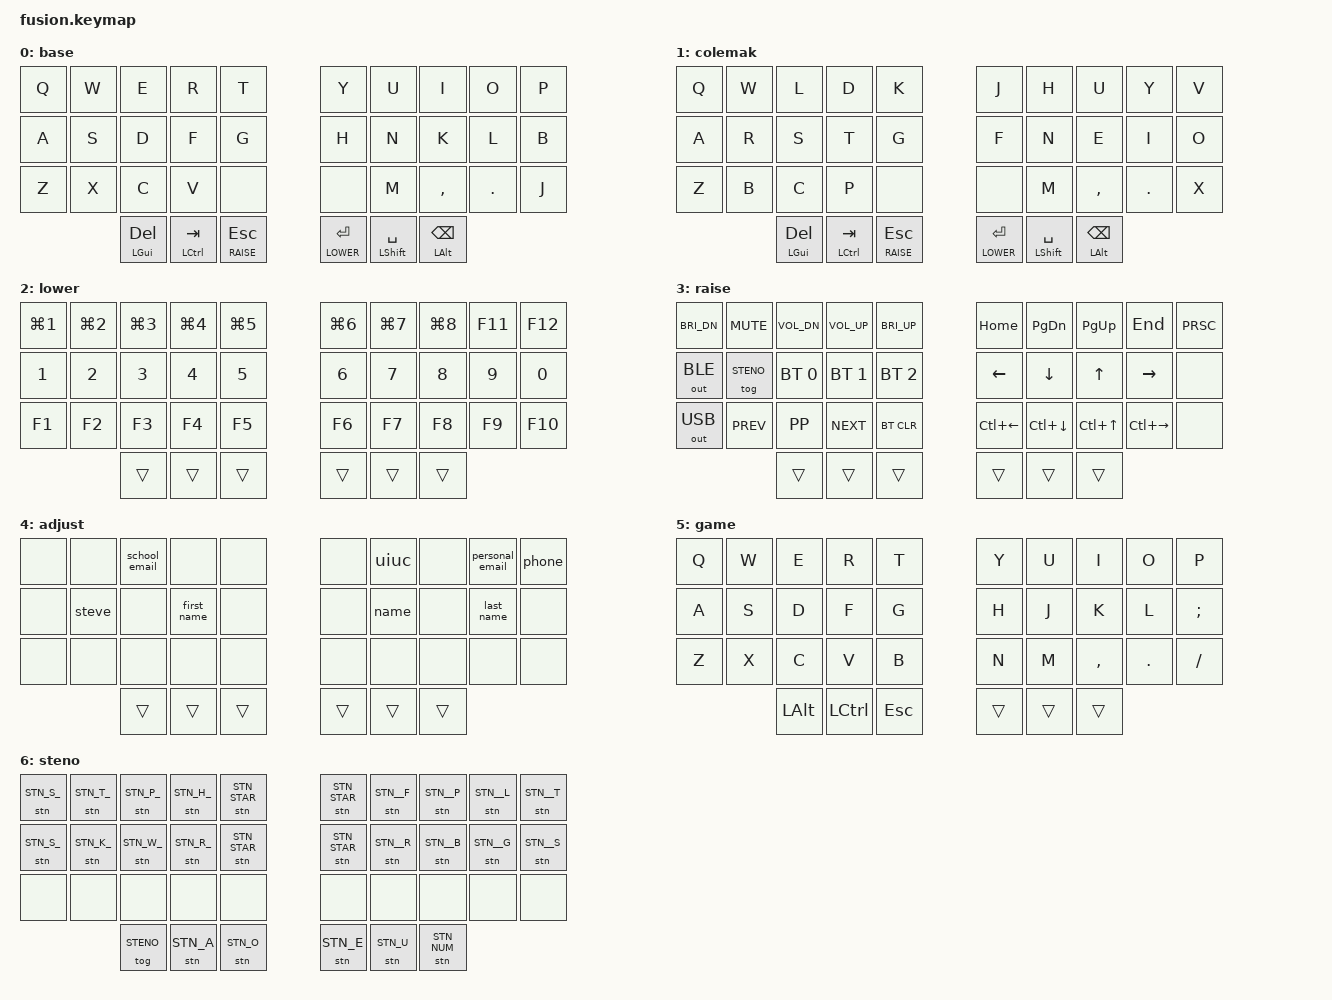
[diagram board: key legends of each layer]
/*
 * Copyright (c) 2020 The ZMK Contributors
 *
 * SPDX-License-Identifier: MIT
 */

#include <behaviors.dtsi>
#include <dt-bindings/zmk/keys.h>
#include <dt-bindings/zmk/bt.h>
#include <dt-bindings/zmk/outputs.h>
#include "../steno/impl/zmk/steno_keys.h"

/ {
    behaviors {
        // My Modtap
        mm: behavior_mod_tap {
            compatible = "zmk,behavior-hold-tap";
            label = "MOD_TAP";
            #binding-cells = <2>;
            flavor = "balanced";
            tapping-term-ms = <150>;
            bindings = <&kp>, <&kp>;
        };
        // My Layertap
        ml: behavior_layer_tap {
            compatible = "zmk,behavior-hold-tap";
            label = "LAYER_TAP";
            #binding-cells = <2>;
            flavor = "hold-preferred";
            tapping-term-ms = <150>;
            bindings = <&mo>, <&kp>;
        };
    };
    combos {
        compatible = "zmk,combos";
#define CONCAT2(x, y) x ## y
#define CONCAT(x, y) CONCAT2(x, y)
#define COMBO(pos, k) CONCAT(combo, __COUNTER__) { key-positions = <pos>; bindings = <&kp k>; layers = <0 1 2 3 4>; timeout-ms = <60>; };
        COMBO(0 1, PERCENT)
        COMBO(1 2, BSLH)
        COMBO(2 3, LBKT)
        COMBO(6 7, RBKT)
        COMBO(7 8, EQUAL)
        COMBO(8 9, PLUS)

        COMBO(10 11, CARET)
        COMBO(11 12, DOLLAR)
        COMBO(12 13, LPAR)
        COMBO(16 17, RPAR)
        COMBO(17 18, SEMI)
        COMBO(18 19, COLON)

        COMBO(20 21, EXCL)
        COMBO(21 22, AT)
        COMBO(22 23, LBRC)
        COMBO(26 27, RBRC)
        COMBO(27 28, FSLH)
        COMBO(28 29, QMARK)

        COMBO(1 11, GRAVE)
        COMBO(2 12, AMPS)
        COMBO(3 13, STAR)
        COMBO(6 16, UNDER)
        COMBO(7 17, DQT)
        COMBO(8 18, SQT)

        COMBO(11 21, TILDE)
        COMBO(12 22, PIPE)
        COMBO(13 23, HASH)
        COMBO(16 26, MINUS)
        COMBO(17 27, LT)
        COMBO(18 28, GT)
    };
#define BASE  0
#define COLA  1
#define LOWER 2
#define RAISE 3
#define ADJUST 4
#define GAME  5
#define STENO 6

    macros {
        #include "macros.dtsi"
    };

    adjust {
        compatible = "zmk,conditional-layers";
        tri_layer {
            if-layers = <LOWER RAISE>;
            then-layer = <ADJUST>;
        };
    };

    keymap0: keymap {
        compatible = "zmk,keymap";
        base {
            bindings = <
&kp Q        &kp W       &kp E        &kp R         &kp T         &kp Y         &kp U         &kp I        &kp O         &kp P
&kp A        &kp S       &kp D        &kp F         &kp G         &kp H         &kp N         &kp K        &kp L         &kp B
&kp Z        &kp X       &kp C        &kp V         &none         &none         &kp M         &kp COMMA    &kp DOT       &kp J
                         &mm LGUI DEL &mm LCTRL TAB &ml RAISE ESC &ml LOWER RET &mm LSHFT SPC &mm LALT BSPC
            >;
        };
        colemak {
            bindings = <
&kp Q        &kp W       &kp L        &kp D         &kp K         &kp J         &kp H         &kp U        &kp Y         &kp V
&kp A        &kp R       &kp S        &kp T         &kp G         &kp F         &kp N         &kp E        &kp I         &kp O
&kp Z        &kp B       &kp C        &kp P         &none         &none         &kp M         &kp COMMA    &kp DOT       &kp X
                         &mm LGUI DEL &mm LCTRL TAB &ml RAISE ESC &ml LOWER RET &mm LSHFT SPC &mm LALT BSPC
            >;
        };
        lower {
            bindings = <
&kp LG(N1)   &kp LG(N2)  &kp LG(N3)   &kp LG(N4)    &kp LG(N5)    &kp LG(N6)    &kp LG(N7)    &kp LG(N8)   &kp F11       &kp F12
&kp N1       &kp N2      &kp N3       &kp N4        &kp N5        &kp N6        &kp N7        &kp N8       &kp N9        &kp N0
&kp F1       &kp F2      &kp F3       &kp F4        &kp F5        &kp F6        &kp F7        &kp F8       &kp F9        &kp F10
                         &trans       &trans        &trans        &trans        &trans        &trans
            >;
        };

        raise {
            bindings = <
&kp C_BRI_DN &kp C_MUTE  &kp C_VOL_DN &kp C_VOL_UP  &kp C_BRI_UP  &kp HOME      &kp PG_DN     &kp PG_UP    &kp END       &kp PRSC
&out OUT_BLE &tog STENO  &bt BT_SEL 0 &bt BT_SEL 1  &bt BT_SEL 2  &kp LEFT      &kp DOWN      &kp UP       &kp RIGHT     &none
&out OUT_USB &kp K_PREV  &kp K_PP     &kp K_NEXT    &bt BT_CLR    &kp LC(LEFT)  &kp LC(DOWN)  &kp LC(UP)   &kp LC(RIGHT) &none
                         &trans       &trans        &trans        &trans        &trans        &trans
            >;
        };

        adjust {
            bindings = <
&none &none &school_email &none       &none &none &uiuc &none &personal_email &phone
&none &steve &none         &first_name &none &none &name &none &last_name      &none
&none &none &none         &none       &none &none &none &none &none           &none
                         &trans       &trans        &trans        &trans        &trans        &trans
            >;
        };

        game {
            bindings = <
&kp Q        &kp W       &kp E        &kp R         &kp T         &kp Y         &kp U         &kp I        &kp O         &kp P
&kp A        &kp S       &kp D        &kp F         &kp G         &kp H         &kp J         &kp K        &kp L         &kp SEMI
&kp Z        &kp X       &kp C        &kp V         &kp B         &kp N         &kp M         &kp COMMA    &kp DOT       &kp FSLH
                         &kp LALT     &kp LCTRL     &kp ESC       &trans        &trans        &trans
            >;
        };

        steno {
            bindings = <
&stn STN_S_  &stn STN_T_ &stn STN_P_  &stn STN_H_   &stn STN_STAR &stn STN_STAR &stn STN__F   &stn STN__P  &stn STN__L   &stn STN__T
&stn STN_S_  &stn STN_K_ &stn STN_W_  &stn STN_R_   &stn STN_STAR &stn STN_STAR &stn STN__R   &stn STN__B  &stn STN__G   &stn STN__S
&none        &none       &none        &none         &none         &none         &none         &none        &none         &none
                         &tog STENO   &stn STN_A    &stn STN_O    &stn STN_E    &stn STN_U    &stn STN_NUM
            >;
        };
    };
};
